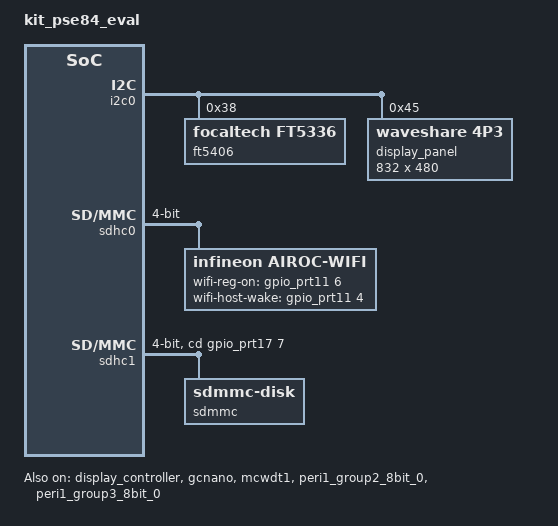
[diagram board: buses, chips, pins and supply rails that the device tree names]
/*
 * SPDX-FileCopyrightText: <text>Copyright (c) 2026 Infineon Technologies AG,
 * or an affiliate of Infineon Technologies AG. All rights reserved.</text>
 *
 * SPDX-License-Identifier: Apache-2.0
 */

/dts-v1/;
#include <infineon/edge/mpns/pse846gps2dbzc4a.dtsi>
#include <infineon/edge/pse84/pse84.cm55.dtsi>
#include <infineon/edge/pse84/system_clocks.dtsi>
#include <zephyr/dt-bindings/display/panel.h>

#include "kit_pse84_eval_common.dtsi"
#include "kit_pse84_eval_memory_map.dtsi"

/ {
	model = "kit_pse84_eval";
	compatible = "kit_pse84_eval";

	aliases {
		led0 = &led_red;
		led1 = &led_green;
		led2 = &led_blue;
	};

	chosen {
		/* m55_xip + flash0_sahb is used in the pse84_boot.c file for m55 core startup
		 * If a different region is assigned here, it also needs to be updated at:
		 * soc/infineon/edge/pse84/security_config/pse84_boot.c
		 */
		zephyr,flash = &flash0_sahb;
		zephyr,code-partition = &m55_xip;
		zephyr,sram = &m55_data;
		zephyr,console = &uart2;
		zephyr,shell-uart = &uart2;
		zephyr,dtcm = &dtcm;
		zephyr,itcm = &itcm;
		zephyr,touch = &ft5406;
		zephyr,display = &display_controller;
	};
};

&clk_hf12 {
	status = "okay";
	clock-div = <IFX_CLK_HF_DIVIDE_BY_2>;
	source-path = <IFX_CLK_HF_IN_CLKPATH3>;
};

&display_controller {
	status = "okay";

	height = <480>;
	width = <832>;

	pixel-clock-khz = <33768>;
	hsync-width = <10>;
	hfp = <210>;
	hbp = <20>;
	vsync-width = <5>;
	vfp = <20>;
	vbp = <20>;

	data-lanes = <1>;
	per-lane-mbps = <810>;

	input-pixel-format = <PANEL_PIXEL_FORMAT_RGB_565>;
	panel = <&display_panel>;
};

&gcnano {
	status = "okay";
};

&i2c0 {
	ft5406: ft5406@38 {
		status = "okay";
		compatible = "focaltech,ft5336";
		reg = <0x38>;
		swapped-x-y;
		inverted-x;
		inverted-y;
		screen-width = <480>;
		screen-height = <800>;
	};

	display_panel: waveshare_panel@45 {
		compatible = "waveshare,4p3";
		reg = <0x45>;
		pixel-format = <PANEL_PIXEL_FORMAT_RGB_888>;
		status = "okay";
		height = <480>;
		width = <832>;
	};
};

&mcwdt1 {
	status = "okay";
};

&peri1_group2_8bit_0 {
	status = "okay";
	clock-div = <2>;
};

&peri1_group3_8bit_0 {
	status = "okay";
	clock-div = <2>;
};

&sdhc0 {
	status = "okay";

	/* SDIO pins */
	pinctrl-0 = <&p21_0_sdhc0_card_cmd &p12_0_sdhc0_clk_card &p12_1_sdhc0_card_dat_3to0
		     &p12_2_sdhc0_card_dat_3to0 &p12_4_sdhc0_card_dat_3to0
		     &p12_5_sdhc0_card_dat_3to0>;
	pinctrl-names = "default";

	clocks = <&peri1_group2_8bit_0>;
	bus-width = <4>;
	max-bus-freq = <50000000>;
	min-bus-freq = <400000>;
	power-delay-ms = <1000>;
	no-1-8-v;

	/* Wi-Fi configuration */
	airoc-wifi {
		status = "okay";
		compatible = "infineon,airoc-wifi";

		/* Wi-Fi control gpios */
		wifi-reg-on-gpios = <&gpio_prt11 6 GPIO_ACTIVE_HIGH>;
		wifi-host-wake-gpios = <&gpio_prt11 4 GPIO_ACTIVE_HIGH>;
	};
};

&sdhc1 {
	status = "okay";

	/* SDHC pins */
	pinctrl-0 = <&p7_0_sdhc1_card_cmd &p7_1_sdhc1_clk_card &p7_3_sdhc1_card_dat_3to0
		     &p7_5_sdhc1_card_dat_3to0 &p7_6_sdhc1_card_dat_3to0
		     &p7_7_sdhc1_card_dat_3to0>;
	pinctrl-names = "default";

	clocks = <&peri1_group3_8bit_0>;
	bus-width = <4>;
	max-bus-freq = <100000000>;
	min-bus-freq = <400000>;
	power-delay-ms = <1000>;
	/* Card detect gpios */
	cd-gpios = <&gpio_prt17 7 GPIO_ACTIVE_HIGH>;

	sdmmc {
		compatible = "zephyr,sdmmc-disk";
		disk-name = "SD";
		status = "okay";
	};
};
